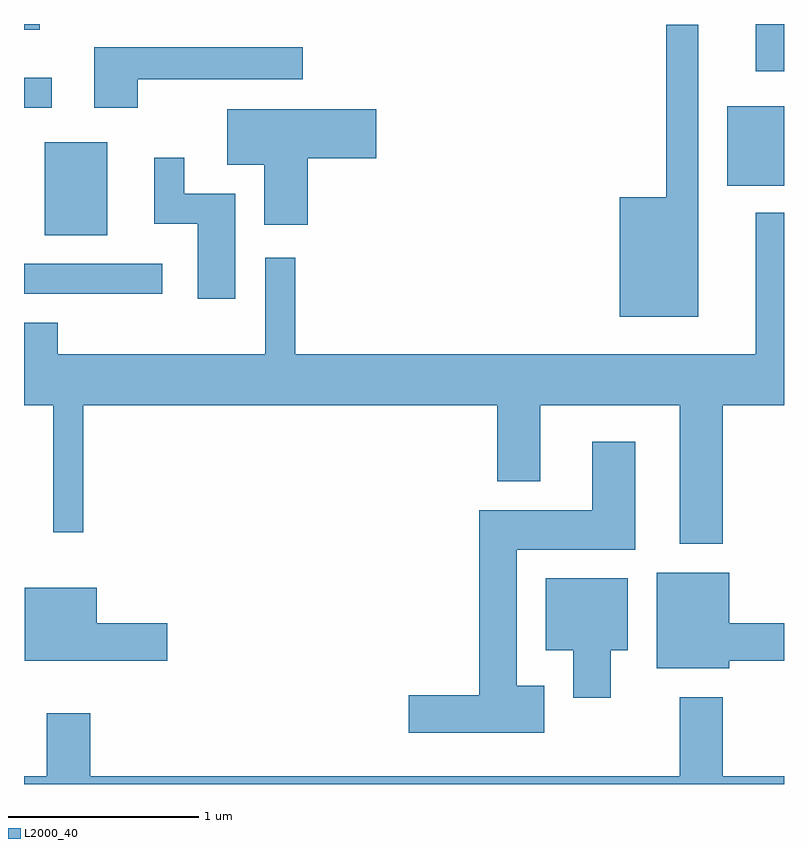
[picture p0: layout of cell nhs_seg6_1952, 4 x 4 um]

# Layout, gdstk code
import gdstk
lib = gdstk.Library(unit=1e-6, precision=1e-09)
def R(c, l, rs):  # rectangles x0, y0, x1, y1
    for r in rs: c.add(gdstk.rectangle(r[:2], r[2:], *l))
def P(c, l, *ps):  # polygons
    for p in ps: c.add(gdstk.Polygon(p, *l))
L2000_40 = (2000, 40)

nhs_seg6_1952 = lib.new_cell('nhs_seg6_1952')
R(nhs_seg6_1952, L2000_40, [(243.611,1652.741,244.338,1652.899), (243.721,1653.051,244.049,1653.539), (247.311,1653.311,247.611,1653.729), (243.611,1653.721,243.758,1653.879), (247.461,1653.913,247.611,1654.162), (243.611,1654.133,243.694,1654.162)])
P(nhs_seg6_1952, L2000_40, [(247.159,1654.158),(246.991,1654.158),(246.991,1653.249),(246.746,1653.249),(246.746,1652.621),(247.159,1652.621)],
  [(244.209,1653.871),(245.078,1653.871),(245.078,1654.039),(243.981,1654.039),(243.981,1653.721),(244.209,1653.721)],
  [(245.104,1653.456),(245.464,1653.456),(245.464,1653.714),(244.681,1653.714),(244.681,1653.421),(244.876,1653.421),(244.876,1653.106),(245.104,1653.106)],
  [(244.724,1653.269),(244.454,1653.269),(244.454,1653.458),(244.296,1653.458),(244.296,1653.111),(244.526,1653.111),(244.526,1652.716),(244.724,1652.716)],
  [(247.289,1652.156),(247.611,1652.156),(247.611,1653.168),(247.461,1653.168),(247.461,1652.424),(245.039,1652.424),(245.039,1652.933),(244.881,1652.933),(244.881,1652.424),(243.789,1652.424),(243.789,1652.589),(243.611,1652.589),(243.611,1652.156),(243.766,1652.156),(243.766,1651.488),(243.924,1651.488),(243.924,1652.156),(246.101,1652.156),(246.101,1651.756),(246.329,1651.756),(246.329,1652.156),(247.061,1652.156),(247.061,1651.426),(247.289,1651.426)],
  [(246.349,1650.679),(246.204,1650.679),(246.204,1651.396),(246.829,1651.396),(246.829,1651.964),(246.601,1651.964),(246.601,1651.604),(246.006,1651.604),(246.006,1650.629),(245.636,1650.629),(245.636,1650.431),(246.349,1650.431)],
  [(247.324,1650.811),(247.611,1650.811),(247.611,1651.009),(247.324,1651.009),(247.324,1651.274),(246.941,1651.274),(246.941,1650.771),(247.324,1650.771)],
  [(246.699,1650.866),(246.789,1650.866),(246.789,1651.244),(246.356,1651.244),(246.356,1650.866),(246.501,1650.866),(246.501,1650.616),(246.699,1650.616)],
  [(244.364,1651.009),(243.994,1651.009),(243.994,1651.194),(243.616,1651.194),(243.616,1650.811),(244.364,1650.811)],
  [(247.611,1650.204),(247.289,1650.204),(247.289,1650.619),(247.061,1650.619),(247.061,1650.204),(243.959,1650.204),(243.959,1650.534),(243.731,1650.534),(243.731,1650.204),(243.611,1650.204),(243.611,1650.162),(247.611,1650.162)])

lib.write_gds('nhs_seg6_1952.gds')
